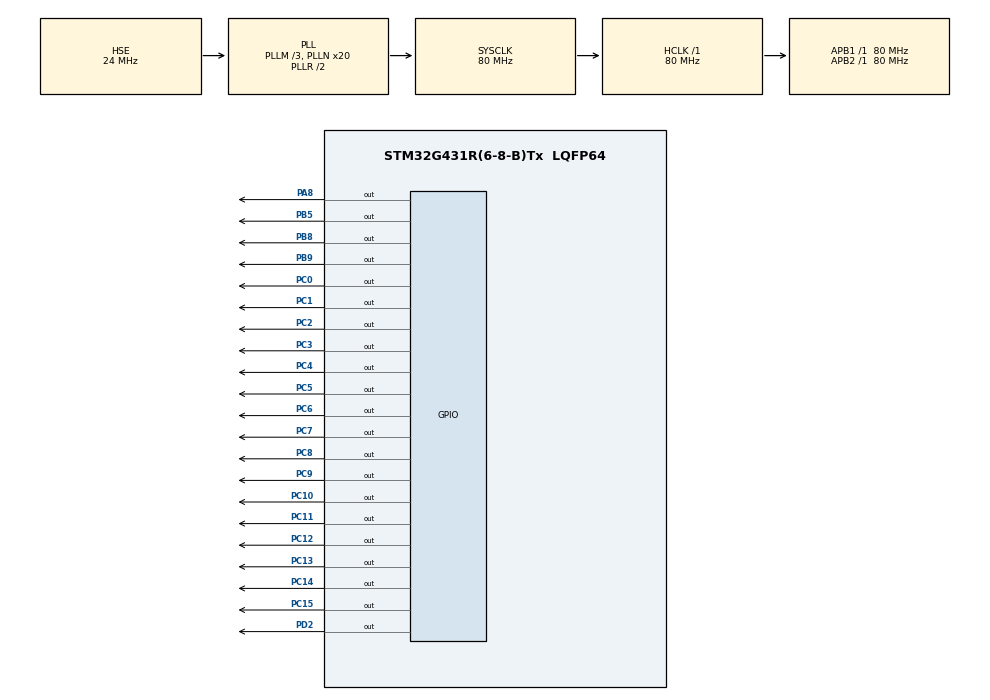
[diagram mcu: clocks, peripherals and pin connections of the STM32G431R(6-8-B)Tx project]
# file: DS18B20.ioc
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Mcu.Family=STM32G4
Mcu.Name=STM32G431R(6-8-B)Tx
Mcu.Package=LQFP64
NVIC.PriorityGroup=NVIC_PRIORITYGROUP_4
PA13.Mode=Serial_Wire
PA13.Signal=SYS_JTMS-SWDIO
PA14.Mode=Serial_Wire
PA14.Signal=SYS_JTCK-SWCLK
PA8.Signal=GPIO_Output
PB5.Signal=GPIO_Output
PB8-BOOT0.Signal=GPIO_Output
PB9.Signal=GPIO_Output
PC0.Signal=GPIO_Output
PC1.Signal=GPIO_Output
PC10.PinState=GPIO_PIN_SET
PC10.Signal=GPIO_Output
PC11.PinState=GPIO_PIN_SET
PC11.Signal=GPIO_Output
PC12.PinState=GPIO_PIN_SET
PC12.Signal=GPIO_Output
PC13.PinState=GPIO_PIN_SET
PC13.Signal=GPIO_Output
PC14-OSC32_IN.PinState=GPIO_PIN_SET
PC14-OSC32_IN.Signal=GPIO_Output
PC15-OSC32_OUT.PinState=GPIO_PIN_SET
PC15-OSC32_OUT.Signal=GPIO_Output
PC2.Signal=GPIO_Output
PC3.Signal=GPIO_Output
PC4.Signal=GPIO_Output
PC5.Signal=GPIO_Output
PC6.Signal=GPIO_Output
PC7.Signal=GPIO_Output
PC8.PinState=GPIO_PIN_SET
PC8.Signal=GPIO_Output
PC9.PinState=GPIO_PIN_SET
PC9.Signal=GPIO_Output
PD2.Signal=GPIO_Output
PF0-OSC_IN.Mode=HSE-External-Oscillator
PF0-OSC_IN.Signal=RCC_OSC_IN
PF1-OSC_OUT.Mode=HSE-External-Oscillator
PF1-OSC_OUT.Signal=RCC_OSC_OUT
ProjectManager.HeapSize=0x200
ProjectManager.StackSize=0x400
ProjectManager.TargetToolchain=MDK-ARM V5.32
RCC.ADC12Freq_Value=80000000
RCC.AHBFreq_Value=80000000
RCC.APB1Freq_Value=80000000
RCC.APB1TimFreq_Value=80000000
RCC.APB2Freq_Value=80000000
RCC.APB2TimFreq_Value=80000000
RCC.CortexFreq_Value=80000000
RCC.EXTERNAL_CLOCK_VALUE=12288000
RCC.HCLKFreq_Value=80000000
RCC.HSE_VALUE=24000000
RCC.HSI48_VALUE=48000000
RCC.HSI_VALUE=16000000
RCC.LSE_VALUE=32768
RCC.PLLM=RCC_PLLM_DIV3
RCC.PLLN=20
RCC.PLLSourceVirtual=RCC_PLLSOURCE_HSE
RCC.SYSCLKFreq_VALUE=80000000
RCC.SYSCLKSource=RCC_SYSCLKSOURCE_PLLCLK
RCC.USBFreq_Value=80000000
RCC.VCOOutputFreq_Value=160000000
VP_SYS_VS_DBSignals.Mode=DisableDeadBatterySignals
board=custom

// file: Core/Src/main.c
/* USER CODE BEGIN Header */
/**
  ******************************************************************************
  * @file           : main.c
  * @brief          : Main program body
  ******************************************************************************
  * @attention
  *
  * Copyright (c) 2024 STMicroelectronics.
  * All rights reserved.
  *
  * This software is licensed under terms that can be found in the LICENSE file
  * in the root directory of this software component.
  * If no LICENSE file comes with this software, it is provided AS-IS.
  *
  ******************************************************************************
  */
/* USER CODE END Header */
#include "main.h"
#include "gpio.h"

/* USER CODE BEGIN Includes */

#include "led.h"
#include "lcd.h"
#include "ds18b20_hal.h"
#include "stdio.h"
#include "String.h"

unsigned char ucled=0x00;

double temperature;

unsigned char lcd_text[30];

__IO uint32_t uwTick_Lcd;

/* USER CODE END Includes */

void SystemClock_Config(void);
/* USER CODE BEGIN PFP */

void lcd_proc(void);

/* USER CODE END PFP */

int main(void)
{

  /* MCU Configuration--------------------------------------------------------*/

  /* Reset of all peripherals, Initializes the Flash interface and the Systick. */
  HAL_Init();

  /* Configure the system clock */
  SystemClock_Config();

  /* Initialize all configured peripherals */
  MX_GPIO_Init();
  /* USER CODE BEGIN 2 */
    LCD_Init();
    LCD_Clear(Black);
    LCD_SetBackColor(Black);
    LCD_SetTextColor(White);

    led_disp(ucled);
    //等待DS18B20温度转换完成，防止插拔接口时产生的误读
	while((unsigned int)(read_temperature()) == 85.0);

  /* USER CODE END 2 */

  /* Infinite loop */
  while (1)
  {

    /* USER CODE BEGIN 3 */
      lcd_proc();
  }
  /* USER CODE END 3 */
}

void SystemClock_Config(void)
{
  RCC_OscInitTypeDef RCC_OscInitStruct = {0};
  RCC_ClkInitTypeDef RCC_ClkInitStruct = {0};

  /** Configure the main internal regulator output voltage
  */
  HAL_PWREx_ControlVoltageScaling(PWR_REGULATOR_VOLTAGE_SCALE1);

  /** Initializes the RCC Oscillators according to the specified parameters
  * in the RCC_OscInitTypeDef structure.
  */
  RCC_OscInitStruct.OscillatorType = RCC_OSCILLATORTYPE_HSE;
  RCC_OscInitStruct.HSEState = RCC_HSE_ON;
  RCC_OscInitStruct.PLL.PLLState = RCC_PLL_ON;
  RCC_OscInitStruct.PLL.PLLSource = RCC_PLLSOURCE_HSE;
  RCC_OscInitStruct.PLL.PLLM = RCC_PLLM_DIV3;
  RCC_OscInitStruct.PLL.PLLN = 20;
  RCC_OscInitStruct.PLL.PLLP = RCC_PLLP_DIV2;
  RCC_OscInitStruct.PLL.PLLQ = RCC_PLLQ_DIV2;
  RCC_OscInitStruct.PLL.PLLR = RCC_PLLR_DIV2;
  if (HAL_RCC_OscConfig(&RCC_OscInitStruct) != HAL_OK)
  {
    Error_Handler();
  }

  /** Initializes the CPU, AHB and APB buses clocks
  */
  RCC_ClkInitStruct.ClockType = RCC_CLOCKTYPE_HCLK|RCC_CLOCKTYPE_SYSCLK
                              |RCC_CLOCKTYPE_PCLK1|RCC_CLOCKTYPE_PCLK2;
  RCC_ClkInitStruct.SYSCLKSource = RCC_SYSCLKSOURCE_PLLCLK;
  RCC_ClkInitStruct.AHBCLKDivider = RCC_SYSCLK_DIV1;
  RCC_ClkInitStruct.APB1CLKDivider = RCC_HCLK_DIV1;
  RCC_ClkInitStruct.APB2CLKDivider = RCC_HCLK_DIV1;

  if (HAL_RCC_ClockConfig(&RCC_ClkInitStruct, FLASH_LATENCY_2) != HAL_OK)
  {
    Error_Handler();
  }
}

/* USER CODE BEGIN 4 */

void lcd_proc(void)
{

    if((uwTick-uwTick_Lcd)<100)return;
    uwTick_Lcd=uwTick;

    temperature=read_temperature();

    memset(lcd_text,0,sizeof(lcd_text));
    sprintf((char *)lcd_text,"temp:%0.2f",temperature);
    LCD_DisplayStringLine(Line4,lcd_text);

}

/* USER CODE END 4 */

void Error_Handler(void)
{
  __disable_irq();
  while (1)
  {
  }
}
